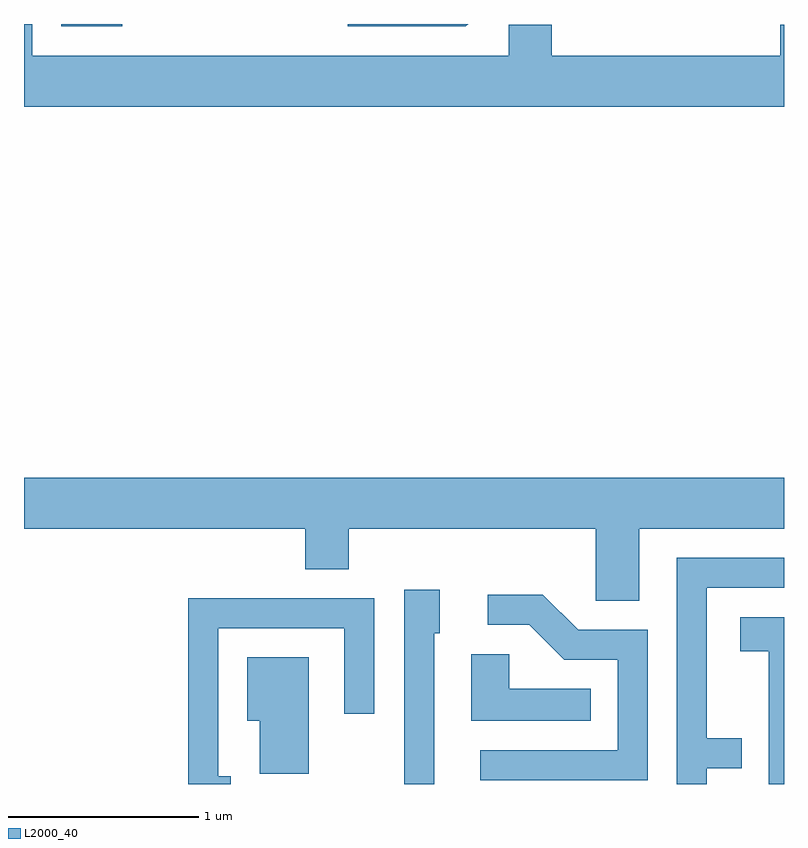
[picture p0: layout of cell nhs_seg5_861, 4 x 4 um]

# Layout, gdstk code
import gdstk
lib = gdstk.Library(unit=1e-6, precision=1e-09)
def R(c, l, rs):  # rectangles x0, y0, x1, y1
    for r in rs: c.add(gdstk.rectangle(r[:2], r[2:], *l))
def P(c, l, *ps):  # polygons
    for p in ps: c.add(gdstk.Polygon(p, *l))
L2000_40 = (2000, 40)

nhs_seg5_861 = lib.new_cell('nhs_seg5_861')
R(nhs_seg5_861, L2000_40, [(209.806,1506.061,210.128,1506.072)])
P(nhs_seg5_861, L2000_40, [(213.611,1506.069),(213.591,1506.069),(213.591,1505.904),(212.389,1505.904),(212.389,1506.069),(212.161,1506.069),(212.161,1505.904),(209.654,1505.904),(209.654,1506.072),(209.611,1506.072),(209.611,1505.636),(213.611,1505.636)],
  [(211.948,1506.072),(211.316,1506.072),(211.316,1506.061),(211.937,1506.061)],
  [(212.849,1503.416),(213.611,1503.416),(213.611,1503.684),(209.611,1503.684),(209.611,1503.416),(211.091,1503.416),(211.091,1503.201),(211.319,1503.201),(211.319,1503.416),(212.621,1503.416),(212.621,1503.036),(212.849,1503.036)],
  [(213.204,1502.156),(213.388,1502.156),(213.388,1502.314),(213.204,1502.314),(213.204,1503.106),(213.611,1503.106),(213.611,1503.264),(213.046,1503.264),(213.046,1502.072),(213.204,1502.072)],
  [(211.769,1502.866),(211.799,1502.866),(211.799,1503.094),(211.611,1503.094),(211.611,1502.072),(211.769,1502.072)],
  [(212.894,1502.884),(212.527,1502.884),(212.342,1503.069),(212.053,1503.069),(212.053,1502.911),(212.269,1502.911),(212.454,1502.726),(212.736,1502.726),(212.736,1502.249),(212.013,1502.249),(212.013,1502.091),(212.894,1502.091)],
  [(210.699,1502.114),(210.634,1502.114),(210.634,1502.891),(211.296,1502.891),(211.296,1502.443),(211.454,1502.443),(211.454,1503.049),(210.476,1503.049),(210.476,1502.072),(210.699,1502.072)],
  [(213.611,1502.949),(213.381,1502.949),(213.381,1502.771),(213.531,1502.771),(213.531,1502.072),(213.611,1502.072)],
  [(212.593,1502.574),(212.164,1502.574),(212.164,1502.754),(211.966,1502.754),(211.966,1502.406),(212.593,1502.406)],
  [(211.109,1502.739),(210.786,1502.739),(210.786,1502.406),(210.851,1502.406),(210.851,1502.126),(211.109,1502.126)])

lib.write_gds('nhs_seg5_861.gds')
